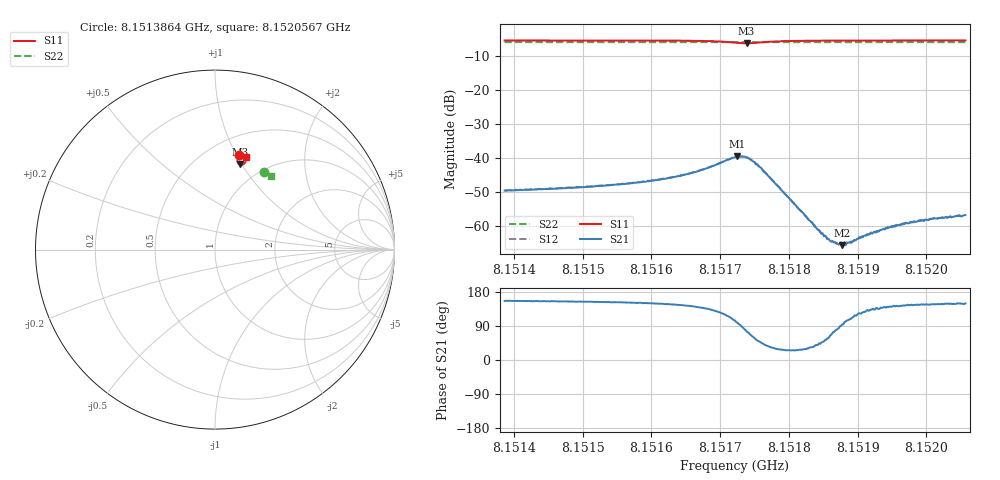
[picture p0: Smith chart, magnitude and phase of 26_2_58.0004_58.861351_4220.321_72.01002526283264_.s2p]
#  HZ  S  RI  R  50.00
! Rohde & Schwarz Vector Network Analyzer
! Rohde-Schwarz,ZNB20-2Port,1311601062101988,3.16
! Created: UTC 3/21/2024, 12:51:23 AM
! freq[Hz]  re:S11  im:S11  re:S21  im:S21  re:S12  im:S12  re:S22  im:S22
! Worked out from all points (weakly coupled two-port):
!   401 points, 8.1513864 GHz to 8.1520567 GHz, reference 50 ohm
!   highest |S21| = -39.43 dB at 8.1517249 GHz (marker M1); lowest = -65.5 dB at 8.1518774 GHz (marker M2)
!   lowest |S11| = -6.1 dB at 8.1517383 GHz (marker M3), VSWR 2.96, Z = 39.2 + j49.2 ohm
!   |S11| at or under -10 dB: nowhere
!   |S22| runs from -5.8 to -5.8 dB; largest |S21 - S12| = 0.00037
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8.15138636e9  0.1343 0.527  -0.00307 0.00137  -0.00309 0.0014  0.2757 0.4339
8.15149865e9  0.144 0.5242  -0.00337 0.00165  -0.00338 0.00167  0.2818 0.4297
8.15156568e9  0.1509 0.5219  -0.00375 0.00201  -0.00374 0.0021  0.2855 0.4272
8.15161093e9  0.1563 0.5191  -0.00413 0.00252  -0.00416 0.00259  0.2879 0.4255
8.15163943e9  0.1606 0.5162  -0.00451 0.0031  -0.00449 0.00318  0.2893 0.4243
8.15166624e9  0.1655 0.5114  -0.0049 0.00412  -0.00491 0.00425  0.2908 0.423
8.15172155e9  0.1629 0.4788  -0.00255 0.0101  -0.00218 0.0101  0.2929 0.4198
8.1517249e9  0.1594 0.4764  -0.00156 0.0106  -0.00134 0.0105  0.293 0.4198
8.15173831e9  0.1406 0.4742  0.00245 0.01  0.00262 0.01  0.293 0.4196
8.15174836e9  0.1289 0.4827  0.00447 0.00781  0.00459 0.00772  0.2932 0.4197
8.15175842e9  0.1246 0.4938  0.00497 0.00541  0.00514 0.00535  0.2936 0.4196
8.15183384e9  0.1448 0.5194  0.000927 0.000623  0.000958 0.000623  0.2986 0.4175
8.15184389e9  0.1467 0.5198  0.000625 0.000607  0.000647 0.000591  0.2992 0.4172
8.15185897e9  0.1494 0.5201  0.0003 0.000547  0.000331 0.000558  0.3 0.4165
8.15186903e9  0.151 0.5201  0.000104 0.000545  0.00013 0.000554  0.3006 0.4163
8.15187741e9  0.1523 0.52  -3.17e-05 0.000527  -2.73e-05 0.00051  0.3011 0.4159
8.15189082e9  0.1541 0.5199  -0.000202 0.000558  -0.000194 0.000536  0.3018 0.4153
8.15191596e9  0.1572 0.5197  -0.000479 0.000579  -0.0005 0.000579  0.3032 0.4142
8.15194612e9  0.1605 0.5194  -0.00075 0.000606  -0.000753 0.000632  0.3047 0.4132
8.15196791e9  0.1624 0.5189  -0.000883 0.000653  -0.000873 0.000643  0.3058 0.4122
8.15200813e9  0.1662 0.518  -0.00109 0.000698  -0.00108 0.000716  0.3079 0.4106
8.15205674e9  0.1702 0.517  -0.00126 0.000748  -0.00127 0.00074  0.3106 0.4086
